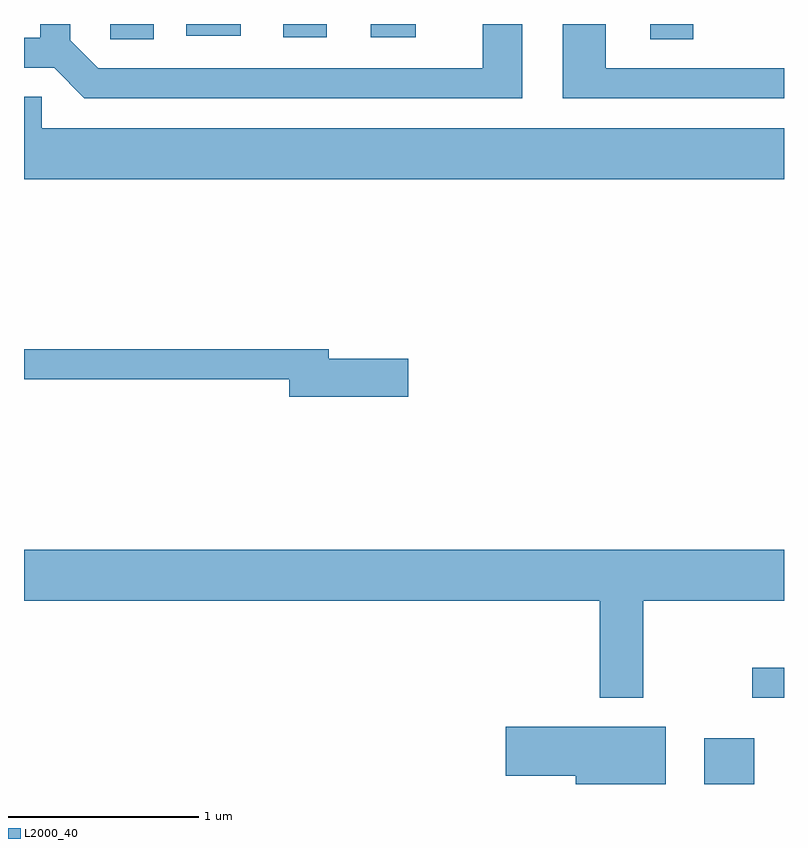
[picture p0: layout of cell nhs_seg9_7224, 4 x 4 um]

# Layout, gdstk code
import gdstk
lib = gdstk.Library(unit=1e-6, precision=1e-09)
def R(c, l, rs):  # rectangles x0, y0, x1, y1
    for r in rs: c.add(gdstk.rectangle(r[:2], r[2:], *l))
def P(c, l, *ps):  # polygons
    for p in ps: c.add(gdstk.Polygon(p, *l))
L2000_40 = (2000, 40)

nhs_seg9_7224 = lib.new_cell('nhs_seg9_7224')
R(nhs_seg9_7224, L2000_40, [(403.191,1966.432,403.454,1966.674), (403.443,1966.886,403.611,1967.044), (400.066,1970.351,400.294,1970.432), (402.906,1970.351,403.134,1970.432), (400.976,1970.361,401.204,1970.432), (401.436,1970.361,401.673,1970.432), (400.466,1970.371,400.753,1970.432), (403.286,1970.431,403.611,1970.432)])
P(nhs_seg9_7224, L2000_40, [(402.234,1970.432),(402.026,1970.432),(402.026,1970.199),(400.002,1970.199),(399.854,1970.347),(399.854,1970.432),(399.696,1970.432),(399.696,1970.359),(399.611,1970.359),(399.611,1970.201),(399.769,1970.201),(399.929,1970.041),(402.234,1970.041)],
  [(403.611,1970.199),(402.674,1970.199),(402.674,1970.432),(402.446,1970.432),(402.446,1970.041),(403.611,1970.041)],
  [(403.611,1969.884),(399.704,1969.884),(399.704,1970.049),(399.611,1970.049),(399.611,1969.616),(403.611,1969.616)],
  [(401.634,1968.669),(401.214,1968.669),(401.214,1968.719),(399.611,1968.719),(399.611,1968.561),(401.006,1968.561),(401.006,1968.471),(401.634,1968.471)],
  [(402.869,1967.396),(403.611,1967.396),(403.611,1967.664),(399.611,1967.664),(399.611,1967.396),(402.641,1967.396),(402.641,1966.886),(402.869,1966.886)],
  [(402.989,1966.734),(402.146,1966.734),(402.146,1966.476),(402.516,1966.476),(402.516,1966.432),(402.989,1966.432)])

lib.write_gds('nhs_seg9_7224.gds')
